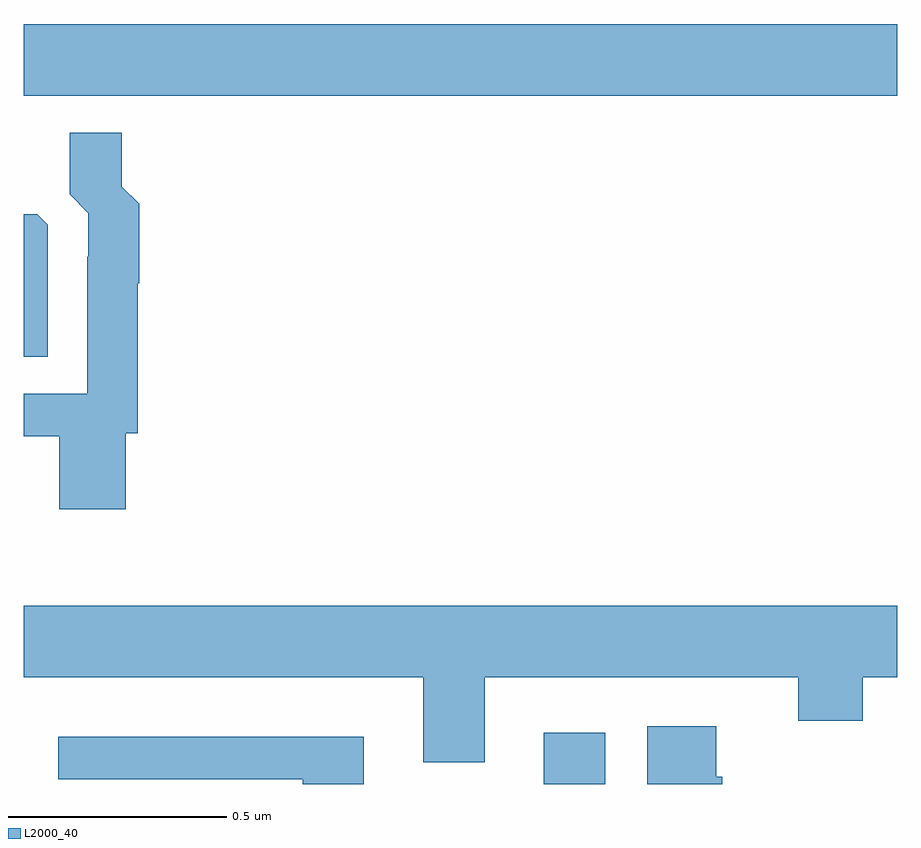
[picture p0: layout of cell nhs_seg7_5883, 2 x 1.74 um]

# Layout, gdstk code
import gdstk
lib = gdstk.Library(unit=1e-6, precision=1e-09)
def R(c, l, rs):  # rectangles x0, y0, x1, y1
    for r in rs: c.add(gdstk.rectangle(r[:2], r[2:], *l))
def P(c, l, *ps):  # polygons
    for p in ps: c.add(gdstk.Polygon(p, *l))
L2000_40 = (2000, 40)

nhs_seg7_5883 = lib.new_cell('nhs_seg7_5883')
R(nhs_seg7_5883, L2000_40, [(192.191,1039,192.331,1039.117), (191,1040.576,193,1040.74)])
P(nhs_seg7_5883, L2000_40, [(191.234,1039.803),(191.261,1039.803),(191.261,1040.146),(191.264,1040.146),(191.264,1040.328),(191.225,1040.367),(191.225,1040.491),(191.105,1040.491),(191.105,1040.35),(191.148,1040.307),(191.148,1040.207),(191.145,1040.207),(191.145,1039.893),(191,1039.893),(191,1039.796),(191.081,1039.796),(191.081,1039.629),(191.234,1039.629)],
  [(191.055,1040.28),(191.031,1040.304),(191,1040.304),(191,1039.978),(191.055,1039.978)],
  [(192.055,1039.244),(192.773,1039.244),(192.773,1039.145),(192.921,1039.145),(192.921,1039.244),(193,1039.244),(193,1039.408),(191,1039.408),(191,1039.244),(191.915,1039.244),(191.915,1039.05),(192.055,1039.05)],
  [(192.599,1039.017),(192.586,1039.017),(192.586,1039.132),(192.428,1039.132),(192.428,1039),(192.599,1039)],
  [(191.779,1039.108),(191.079,1039.108),(191.079,1039.011),(191.639,1039.011),(191.639,1039),(191.779,1039)])

lib.write_gds('nhs_seg7_5883.gds')
